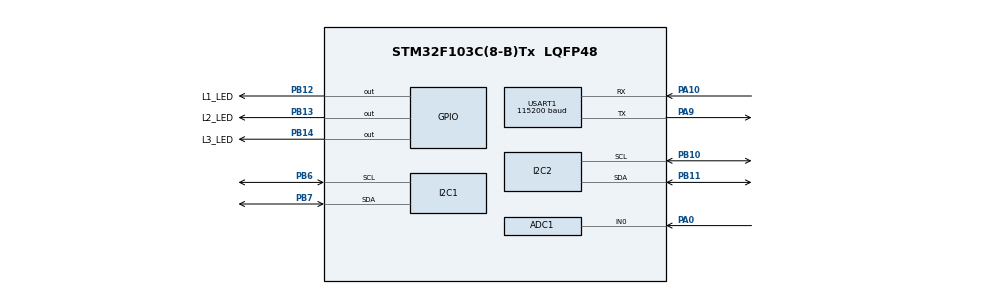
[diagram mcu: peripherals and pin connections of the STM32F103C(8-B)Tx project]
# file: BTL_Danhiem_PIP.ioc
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ADC1.Channel-0\#ChannelRegularConversion=ADC_CHANNEL_0
ADC1.ContinuousConvMode=ENABLE
ADC1.NbrOfConversionFlag=1
ADC1.Rank-0\#ChannelRegularConversion=1
ADC1.SamplingTime-0\#ChannelRegularConversion=ADC_SAMPLETIME_1CYCLE_5
ADC1.master=1
FREERTOS.BinarySemaphores01=BinarySem_ISR,Dynamic,NULL,Available
FREERTOS.HEAP_NUMBER=4
FREERTOS.Mutexes01=MutexCCS811,Dynamic,NULL,Available;MutexLCD,Dynamic,NULL,Available
FREERTOS.Tasks01=TVOC_mea,0,128,StartTVOC_mea,Default,NULL,Dynamic,NULL,NULL;CO2_mea,0,128,StartCO2_mea,Default,NULL,Dynamic,NULL,NULL;CO_mea,0,128,StartCO_mea,Default,NULL,Dynamic,NULL,NULL;LCD_TVOC,0,128,StartLCD_TVOC,Default,NULL,Dynamic,NULL,NULL;Uart_Send,-1,128,StartUart_Send,Default,NULL,Dynamic,NULL,NULL;Task_Isr,3,128,StartTaskIsr,Default,NULL,Dynamic,NULL,NULL;LCD_CO,-3,128,StartLCD_CO,Default,NULL,Dynamic,NULL,NULL;LCD_CO2,-3,128,StartLCD_CO2,Default,NULL,Dynamic,NULL,NULL;Warning,-3,128,StartWarning,Default,NULL,Dynamic,NULL,NULL
FREERTOS.configTOTAL_HEAP_SIZE=5900
FREERTOS.configUSE_PREEMPTION=0
Mcu.Family=STM32F1
Mcu.Name=STM32F103C(8-B)Tx
Mcu.Package=LQFP48
NVIC.PriorityGroup=NVIC_PRIORITYGROUP_4
NVIC.TIM2_IRQn=true\:15\:0\:false\:false\:true\:false\:false\:true\:true
NVIC.TimeBase=TIM2_IRQn
NVIC.TimeBaseIP=TIM2
NVIC.USART1_IRQn=true\:5\:0\:false\:false\:true\:true\:true\:true\:true
PA0-WKUP.Signal=ADCx_IN0
PA10.Mode=Asynchronous
PA10.Signal=USART1_RX
PA13.Mode=Serial_Wire
PA13.Signal=SYS_JTMS-SWDIO
PA14.Mode=Serial_Wire
PA14.Signal=SYS_JTCK-SWCLK
PA9.Mode=Asynchronous
PA9.Signal=USART1_TX
PB10.Mode=I2C
PB10.Signal=I2C2_SCL
PB11.Mode=I2C
PB11.Signal=I2C2_SDA
PB12.GPIO_Label=L1_LED
PB12.GPIO_Speed=GPIO_SPEED_FREQ_LOW
PB12.PinState=GPIO_PIN_SET
PB12.Signal=GPIO_Output
PB13.GPIO_Label=L2_LED
PB13.PinState=GPIO_PIN_SET
PB13.Signal=GPIO_Output
PB14.GPIO_Label=L3_LED
PB14.PinState=GPIO_PIN_SET
PB14.Signal=GPIO_Output
PB6.Mode=I2C
PB6.Signal=I2C1_SCL
PB7.Mode=I2C
PB7.Signal=I2C1_SDA
PD0-OSC_IN.Mode=HSE-External-Oscillator
PD0-OSC_IN.Signal=RCC_OSC_IN
PD1-OSC_OUT.Mode=HSE-External-Oscillator
PD1-OSC_OUT.Signal=RCC_OSC_OUT
ProjectManager.HeapSize=0x200
ProjectManager.StackSize=0x400
ProjectManager.TargetToolchain=STM32CubeIDE
RCC.APB1Freq_Value=8000000
RCC.APB2Freq_Value=8000000
SH.ADCx_IN0.0=ADC1_IN0,IN0
USART1.BaudRate=115200
USART1.VirtualMode=VM_ASYNC
VP_FREERTOS_VS_CMSIS_V1.Mode=CMSIS_V1
VP_SYS_VS_tim2.Mode=TIM2
board=custom

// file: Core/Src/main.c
/* USER CODE BEGIN Header */
/**
  ******************************************************************************
  * @file           : main.c
  * @brief          : Main program body
  ******************************************************************************
  * @attention
  *
  * Copyright (c) 2024 STMicroelectronics.
  * All rights reserved.
  *
  * This software is licensed under terms that can be found in the LICENSE file
  * in the root directory of this software component.
  * If no LICENSE file comes with this software, it is provided AS-IS.
  *
  ******************************************************************************
  */
/* USER CODE END Header */
#include "main.h"
#include "cmsis_os.h"

/* USER CODE BEGIN Includes */
#include "math.h"
#include "i2c-lcd.h"
#include <stdio.h>
#include "ccs811.h"
#include <stdlib.h>
#include <string.h>
#include "warning.h"
/* USER CODE END Includes */

/* USER CODE BEGIN PTD */
#define QUEUE_SIZE 9
/* USER CODE END PTD */

ADC_HandleTypeDef hadc1;

I2C_HandleTypeDef hi2c1;
I2C_HandleTypeDef hi2c2;

UART_HandleTypeDef huart1;

osThreadId TVOC_meaHandle;
osThreadId CO2_meaHandle;
osThreadId CO_meaHandle;
osThreadId LCD_TVOCHandle;
osThreadId Uart_SendHandle;
osThreadId Task_IsrHandle;
osThreadId LCD_COHandle;
osThreadId LCD_CO2Handle;
osThreadId WarningHandle;
osMutexId MutexCCS811Handle;
osMutexId MutexLCDHandle;
osSemaphoreId BinarySem_ISRHandle;
/* USER CODE BEGIN PV */
typedef struct {
	char unit[4];
    char sensorName[10];  // Tên cảm biến
    uint16_t value;          // Giá trị đo
} SensorData;

SensorData CO = {
        .unit = "ppm",
        .sensorName = "CO",
        .value = 0
};
SensorData CO2 = {
        .unit = "ppm",
        .sensorName = "CO2",
        .value = 0
};
SensorData TVOC = {
        .unit = "ppb",
        .sensorName = "TVOC",
        .value = 0
};

uint16_t Tvoc ;
uint16_t Tvoc_ppb;
uint32_t CO_adc_val;
uint16_t eCO2 ;
uint16_t CO2_ppm;
float CO_vol;
uint16_t CO_ppm;
char Lcd_buf[16];
uint8_t Uart_TX_Buf[40];
uint8_t Uart_RX_Buf[2];
/* USER CODE END PV */

void SystemClock_Config(void);
static void MX_GPIO_Init(void);
static void MX_ADC1_Init(void);
static void MX_I2C1_Init(void);
static void MX_I2C2_Init(void);
static void MX_USART1_UART_Init(void);
void StartTVOC_mea(void const * argument);
void StartCO2_mea(void const * argument);
void StartCO_mea(void const * argument);
void StartLCD_TVOC(void const * argument);
void StartUart_Send(void const * argument);
void StartTaskIsr(void const * argument);
void StartLCD_CO(void const * argument);
void StartLCD_CO2(void const * argument);
void StartWarning(void const * argument);

/* USER CODE BEGIN 0 */
int CO_ppm_convert(float CO_vol) {
    float a = ((5.0 - CO_vol) / CO_vol) * (10/10);
    return (int)round(100 * pow(a, -1.559));
}
void CO_measure()
{
	CO_adc_val = HAL_ADC_GetValue(&hadc1);
	CO_vol = ((float)CO_adc_val / 4095.0) * 5;
	CO_ppm = (uint16_t)(CO_ppm_convert(CO_vol));
}
void TVOC_measure()
{
	CCS811_Read_TVOC(&Tvoc);
	Tvoc_ppb=Tvoc;
}
void CO2_measure()
{
	CCS811_Read_Co2(&eCO2);
	CO2_ppm=eCO2;
}
void LCD_Display(SensorData data)
{
	lcd_clear();
	lcd_put_cur(0,0);
	snprintf(Lcd_buf, sizeof(Lcd_buf), "%s:", data.sensorName);
	lcd_send_string (Lcd_buf);
	lcd_put_cur(1,0);
	snprintf(Lcd_buf, sizeof(Lcd_buf), "%d %s", (int)data.value, data.unit);
	lcd_send_string (Lcd_buf);
}

void Uart_Send()
{
	sprintf((char*)Uart_TX_Buf, "TVOC:%d ppb\r\n",(int)Tvoc_ppb);
	HAL_UART_Transmit(&huart1,(uint8_t*) Uart_TX_Buf,strlen((char*)Uart_TX_Buf) , HAL_MAX_DELAY);
	sprintf((char*)Uart_TX_Buf, "CO:%d ppm\r\n",(int)CO_ppm);
	HAL_UART_Transmit(&huart1, (uint8_t*)Uart_TX_Buf,strlen((char*)Uart_TX_Buf) , HAL_MAX_DELAY);
	sprintf((char*)Uart_TX_Buf, "CO2:%d ppm\r\n",(int)CO2_ppm);
	HAL_UART_Transmit(&huart1,(uint8_t*)Uart_TX_Buf,strlen((char*)Uart_TX_Buf) , HAL_MAX_DELAY);
	sprintf((char*)Uart_TX_Buf, "--------\r\n");
	HAL_UART_Transmit(&huart1, (uint8_t*)Uart_TX_Buf, strlen((char*)Uart_TX_Buf), HAL_MAX_DELAY);
}
void HAL_UART_RxCpltCallback(UART_HandleTypeDef *huart) {
    if (huart->Instance == USART1)
    {
    	osSemaphoreRelease(BinarySem_ISRHandle);
    }
    HAL_UART_Receive_IT(&huart1, Uart_RX_Buf, 1);
}
/* USER CODE END 0 */

int main(void)
{

  /* MCU Configuration--------------------------------------------------------*/

  /* Reset of all peripherals, Initializes the Flash interface and the Systick. */
  HAL_Init();

  /* Configure the system clock */
  SystemClock_Config();

  /* Initialize all configured peripherals */
  MX_GPIO_Init();
  MX_ADC1_Init();
  MX_I2C1_Init();
  MX_I2C2_Init();
  MX_USART1_UART_Init();
  /* USER CODE BEGIN 2 */
  CCS811_Init();
  CCS811_Set_Mode(CCS811_MODE_1SEC);
  CCS811_EnableInt();
  HAL_ADC_Start(&hadc1);
  lcd_init();
  HAL_UART_Receive_IT(&huart1, Uart_RX_Buf, 1);
  /* USER CODE END 2 */

  /* Create the mutex(es) */
  /* definition and creation of MutexCCS811 */
  osMutexDef(MutexCCS811);
  MutexCCS811Handle = osMutexCreate(osMutex(MutexCCS811));

  /* definition and creation of MutexLCD */
  osMutexDef(MutexLCD);
  MutexLCDHandle = osMutexCreate(osMutex(MutexLCD));

  /* Create the semaphores(s) */
  /* definition and creation of BinarySem_ISR */
  osSemaphoreDef(BinarySem_ISR);
  BinarySem_ISRHandle = osSemaphoreCreate(osSemaphore(BinarySem_ISR), 1);

  /* Create the thread(s) */
  /* definition and creation of TVOC_mea */
  osThreadDef(TVOC_mea, StartTVOC_mea, osPriorityNormal, 0, 128);
  TVOC_meaHandle = osThreadCreate(osThread(TVOC_mea), NULL);

  /* definition and creation of CO2_mea */
  osThreadDef(CO2_mea, StartCO2_mea, osPriorityNormal, 0, 128);
  CO2_meaHandle = osThreadCreate(osThread(CO2_mea), NULL);

  /* definition and creation of CO_mea */
  osThreadDef(CO_mea, StartCO_mea, osPriorityNormal, 0, 128);
  CO_meaHandle = osThreadCreate(osThread(CO_mea), NULL);

  /* definition and creation of LCD_TVOC */
  osThreadDef(LCD_TVOC, StartLCD_TVOC, osPriorityNormal, 0, 128);
  LCD_TVOCHandle = osThreadCreate(osThread(LCD_TVOC), NULL);

  /* definition and creation of Uart_Send */
  osThreadDef(Uart_Send, StartUart_Send, osPriorityBelowNormal, 0, 128);
  Uart_SendHandle = osThreadCreate(osThread(Uart_Send), NULL);

  /* definition and creation of Task_Isr */
  osThreadDef(Task_Isr, StartTaskIsr, osPriorityRealtime, 0, 128);
  Task_IsrHandle = osThreadCreate(osThread(Task_Isr), NULL);

  /* definition and creation of LCD_CO */
  osThreadDef(LCD_CO, StartLCD_CO, osPriorityIdle, 0, 128);
  LCD_COHandle = osThreadCreate(osThread(LCD_CO), NULL);

  /* definition and creation of LCD_CO2 */
  osThreadDef(LCD_CO2, StartLCD_CO2, osPriorityIdle, 0, 128);
  LCD_CO2Handle = osThreadCreate(osThread(LCD_CO2), NULL);

  /* definition and creation of Warning */
  osThreadDef(Warning, StartWarning, osPriorityIdle, 0, 128);
  WarningHandle = osThreadCreate(osThread(Warning), NULL);

  /* Start scheduler */
  osKernelStart();

  /* We should never get here as control is now taken by the scheduler */

  /* Infinite loop */
  while (1)
  {

  }
}

void SystemClock_Config(void)
{
  RCC_OscInitTypeDef RCC_OscInitStruct = {0};
  RCC_ClkInitTypeDef RCC_ClkInitStruct = {0};
  RCC_PeriphCLKInitTypeDef PeriphClkInit = {0};

  /** Initializes the RCC Oscillators according to the specified parameters
  * in the RCC_OscInitTypeDef structure.
  */
  RCC_OscInitStruct.OscillatorType = RCC_OSCILLATORTYPE_HSI;
  RCC_OscInitStruct.HSIState = RCC_HSI_ON;
  RCC_OscInitStruct.HSICalibrationValue = RCC_HSICALIBRATION_DEFAULT;
  RCC_OscInitStruct.PLL.PLLState = RCC_PLL_NONE;
  if (HAL_RCC_OscConfig(&RCC_OscInitStruct) != HAL_OK)
  {
    Error_Handler();
  }

  /** Initializes the CPU, AHB and APB buses clocks
  */
  RCC_ClkInitStruct.ClockType = RCC_CLOCKTYPE_HCLK|RCC_CLOCKTYPE_SYSCLK
                              |RCC_CLOCKTYPE_PCLK1|RCC_CLOCKTYPE_PCLK2;
  RCC_ClkInitStruct.SYSCLKSource = RCC_SYSCLKSOURCE_HSI;
  RCC_ClkInitStruct.AHBCLKDivider = RCC_SYSCLK_DIV1;
  RCC_ClkInitStruct.APB1CLKDivider = RCC_HCLK_DIV1;
  RCC_ClkInitStruct.APB2CLKDivider = RCC_HCLK_DIV1;

  if (HAL_RCC_ClockConfig(&RCC_ClkInitStruct, FLASH_LATENCY_0) != HAL_OK)
  {
    Error_Handler();
  }
  PeriphClkInit.PeriphClockSelection = RCC_PERIPHCLK_ADC;
  PeriphClkInit.AdcClockSelection = RCC_ADCPCLK2_DIV2;
  if (HAL_RCCEx_PeriphCLKConfig(&PeriphClkInit) != HAL_OK)
  {
    Error_Handler();
  }
}

static void MX_ADC1_Init(void)
{

  ADC_ChannelConfTypeDef sConfig = {0};

  /** Common config
  */
  hadc1.Instance = ADC1;
  hadc1.Init.ScanConvMode = ADC_SCAN_DISABLE;
  hadc1.Init.ContinuousConvMode = ENABLE;
  hadc1.Init.DiscontinuousConvMode = DISABLE;
  hadc1.Init.ExternalTrigConv = ADC_SOFTWARE_START;
  hadc1.Init.DataAlign = ADC_DATAALIGN_RIGHT;
  hadc1.Init.NbrOfConversion = 1;
  if (HAL_ADC_Init(&hadc1) != HAL_OK)
  {
    Error_Handler();
  }

  /** Configure Regular Channel
  */
  sConfig.Channel = ADC_CHANNEL_0;
  sConfig.Rank = ADC_REGULAR_RANK_1;
  sConfig.SamplingTime = ADC_SAMPLETIME_1CYCLE_5;
  if (HAL_ADC_ConfigChannel(&hadc1, &sConfig) != HAL_OK)
  {
    Error_Handler();
  }

}

static void MX_I2C1_Init(void)
{

  hi2c1.Instance = I2C1;
  hi2c1.Init.ClockSpeed = 100000;
  hi2c1.Init.DutyCycle = I2C_DUTYCYCLE_2;
  hi2c1.Init.OwnAddress1 = 0;
  hi2c1.Init.AddressingMode = I2C_ADDRESSINGMODE_7BIT;
  hi2c1.Init.DualAddressMode = I2C_DUALADDRESS_DISABLE;
  hi2c1.Init.OwnAddress2 = 0;
  hi2c1.Init.GeneralCallMode = I2C_GENERALCALL_DISABLE;
  hi2c1.Init.NoStretchMode = I2C_NOSTRETCH_DISABLE;
  if (HAL_I2C_Init(&hi2c1) != HAL_OK)
  {
    Error_Handler();
  }

}

static void MX_I2C2_Init(void)
{

  hi2c2.Instance = I2C2;
  hi2c2.Init.ClockSpeed = 100000;
  hi2c2.Init.DutyCycle = I2C_DUTYCYCLE_2;
  hi2c2.Init.OwnAddress1 = 0;
  hi2c2.Init.AddressingMode = I2C_ADDRESSINGMODE_7BIT;
  hi2c2.Init.DualAddressMode = I2C_DUALADDRESS_DISABLE;
  hi2c2.Init.OwnAddress2 = 0;
  hi2c2.Init.GeneralCallMode = I2C_GENERALCALL_DISABLE;
  hi2c2.Init.NoStretchMode = I2C_NOSTRETCH_DISABLE;
  if (HAL_I2C_Init(&hi2c2) != HAL_OK)
  {
    Error_Handler();
  }

}

static void MX_USART1_UART_Init(void)
{

  huart1.Instance = USART1;
  huart1.Init.BaudRate = 115200;
  huart1.Init.WordLength = UART_WORDLENGTH_8B;
  huart1.Init.StopBits = UART_STOPBITS_1;
  huart1.Init.Parity = UART_PARITY_NONE;
  huart1.Init.Mode = UART_MODE_TX_RX;
  huart1.Init.HwFlowCtl = UART_HWCONTROL_NONE;
  huart1.Init.OverSampling = UART_OVERSAMPLING_16;
  if (HAL_UART_Init(&huart1) != HAL_OK)
  {
    Error_Handler();
  }

}

static void MX_GPIO_Init(void)
{
  GPIO_InitTypeDef GPIO_InitStruct = {0};

  /* GPIO Ports Clock Enable */
  __HAL_RCC_GPIOD_CLK_ENABLE();
  __HAL_RCC_GPIOA_CLK_ENABLE();
  __HAL_RCC_GPIOB_CLK_ENABLE();

  /*Configure GPIO pin Output Level */
  HAL_GPIO_WritePin(GPIOB, L1_LED_Pin|L2_LED_Pin|L3_LED_Pin, GPIO_PIN_SET);

  /*Configure GPIO pins : L1_LED_Pin L2_LED_Pin L3_LED_Pin */
  GPIO_InitStruct.Pin = L1_LED_Pin|L2_LED_Pin|L3_LED_Pin;
  GPIO_InitStruct.Mode = GPIO_MODE_OUTPUT_PP;
  GPIO_InitStruct.Pull = GPIO_NOPULL;
  GPIO_InitStruct.Speed = GPIO_SPEED_FREQ_LOW;
  HAL_GPIO_Init(GPIOB, &GPIO_InitStruct);

}

void StartTVOC_mea(void const * argument)
{
  /* USER CODE BEGIN 5 */
  /* Infinite loop */
  for(;;)
  {
	if (osMutexWait(MutexCCS811Handle, osWaitForever) == osOK){
		TVOC_measure();
		TVOC.value = Tvoc_ppb;
		HAL_Delay(990);
		osMutexRelease(MutexCCS811Handle);
	}
    osDelay(2995);
  }
  /* USER CODE END 5 */
}

void StartCO2_mea(void const * argument)
{
  /* USER CODE BEGIN StartCO2_mea */
  /* Infinite loop */
  for(;;)
  {
	if (osMutexWait(MutexCCS811Handle, osWaitForever) == osOK){
	  CO2_measure();
	  CO2.value = CO2_ppm;
	  HAL_Delay(990);
	  osMutexRelease(MutexCCS811Handle);
	}
	osDelay(2995);
  }
  /* USER CODE END StartCO2_mea */
}

void StartCO_mea(void const * argument)
{
  /* USER CODE BEGIN StartCO_mea */
  /* Infinite loop */
  for(;;)
  {
	if (osMutexWait(MutexCCS811Handle, osWaitForever) == osOK){
		CO_measure();
		CO.value = CO_ppm;
		HAL_Delay(990);
		osMutexRelease(MutexCCS811Handle);
	}
    osDelay(2995);
  }
  /* USER CODE END StartCO_mea */
}

void StartLCD_TVOC(void const * argument)
{
  /* USER CODE BEGIN StartLCD_TVOC */
  /* Infinite loop */
  for(;;)
  {
	if (osMutexWait(MutexLCDHandle, osWaitForever) == osOK){
		LCD_Display(TVOC);

		HAL_Delay(950);
		osMutexRelease(MutexCCS811Handle);
	}
	osDelay(2950);
  }
  /* USER CODE END StartLCD_TVOC */
}

void StartUart_Send(void const * argument)
{
  /* USER CODE BEGIN StartUart_Send */
  /* Infinite loop */
  for(;;)
  {
	Uart_Send();
    osDelay(3000);
  }
  /* USER CODE END StartUart_Send */
}

void StartTaskIsr(void const * argument)
{
  /* USER CODE BEGIN StartTaskIsr */
  /* Infinite loop */
  for(;;)
  {
	 osSemaphoreWait(BinarySem_ISRHandle,osWaitForever);
	 if((char)Uart_RX_Buf[0] == '1')
	 {
		TVOC_measure();
		sprintf((char*)Uart_TX_Buf, "TVOC:%d ppb\r\n",(int)Tvoc_ppb);
		HAL_UART_Transmit(&huart1,(uint8_t*) Uart_TX_Buf,strlen((char*)Uart_TX_Buf) , HAL_MAX_DELAY);
	 }
	 else if((char)Uart_RX_Buf[0]  == '2')
	 {
		CO2_measure();
		sprintf((char*)Uart_TX_Buf, "CO2:%d ppm\r\n",(int)CO2_ppm);
		HAL_UART_Transmit(&huart1,(uint8_t*) Uart_TX_Buf,strlen((char*)Uart_TX_Buf) , HAL_MAX_DELAY);
	 }
	 else if((char)Uart_RX_Buf[0]  == '3')
	 {
		CO_measure();
		sprintf((char*)Uart_TX_Buf, "CO:%d ppm\r\n",(int)CO_ppm);
		HAL_UART_Transmit(&huart1,(uint8_t*) Uart_TX_Buf,strlen((char*)Uart_TX_Buf) , HAL_MAX_DELAY);
	 }
	 osDelay(1000);
  }
  /* USER CODE END StartTaskIsr */
}

void StartLCD_CO(void const * argument)
{
  /* USER CODE BEGIN StartLCD_CO */
  /* Infinite loop */
  for(;;)
  {
	  if (osMutexWait(MutexLCDHandle, osWaitForever) == osOK){
	  		LCD_Display(CO);

	  		HAL_Delay(950);
	  		osMutexRelease(MutexCCS811Handle);
	  }
	  osDelay(2950);
  }
  /* USER CODE END StartLCD_CO */
}

void StartLCD_CO2(void const * argument)
{
  /* USER CODE BEGIN StartLCD_CO2 */
  /* Infinite loop */
  for(;;)
  {
	if (osMutexWait(MutexLCDHandle, osWaitForever) == osOK){
	  	 LCD_Display(CO2);

	  	 HAL_Delay(950);
	  	 osMutexRelease(MutexCCS811Handle);
	 }
	 osDelay(2950);
  }
  /* USER CODE END StartLCD_CO2 */
}

void StartWarning(void const * argument)
{
  /* USER CODE BEGIN StartWarning */
  /* Infinite loop */
  for(;;)
  {
	  Warning();
	  osDelay(1000);
  }
  /* USER CODE END StartWarning */
}

void HAL_TIM_PeriodElapsedCallback(TIM_HandleTypeDef *htim)
{
  if (htim->Instance == TIM2) {
    HAL_IncTick();
  }
}

void Error_Handler(void)
{
  __disable_irq();
  while (1)
  {
  }
}
